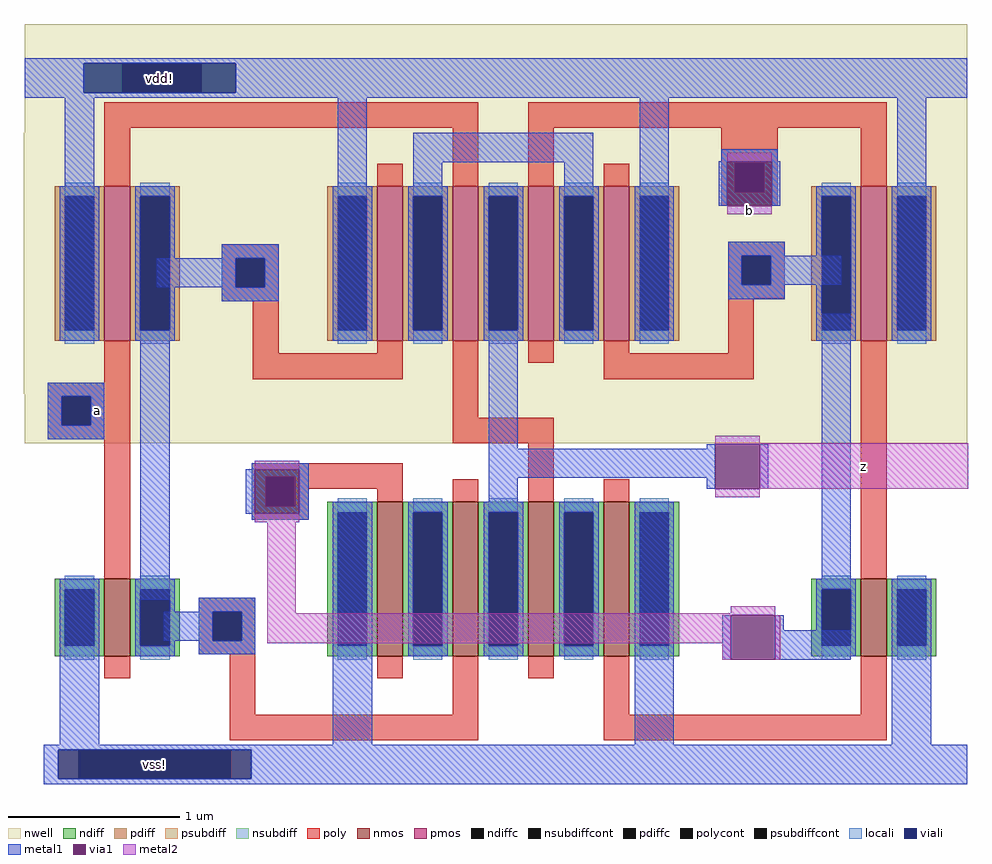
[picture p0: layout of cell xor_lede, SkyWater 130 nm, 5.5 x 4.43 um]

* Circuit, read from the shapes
.subckt xor_lede a b vdd! vss! z
XM1 n1 a vss! vss! sky130_fd_pr__nfet_01v8 w=0.45 l=0.15
XM2 n2 n3 vss! vss! sky130_fd_pr__nfet_01v8 w=0.9 l=0.15
XM3 z n1 n2 vss! sky130_fd_pr__nfet_01v8 w=0.9 l=0.15
XM4 n4 a z vss! sky130_fd_pr__nfet_01v8 w=0.9 l=0.15
XM5 vss! b n4 vss! sky130_fd_pr__nfet_01v8 w=0.9 l=0.15
XM6 vss! b n3 vss! sky130_fd_pr__nfet_01v8 w=0.45 l=0.15
XM7 n1 a vdd! vdd! sky130_fd_pr__pfet_01v8 w=0.9 l=0.15
XM8 n5 n1 vdd! vdd! sky130_fd_pr__pfet_01v8 w=0.9 l=0.15
XM9 z a n5 vdd! sky130_fd_pr__pfet_01v8 w=0.9 l=0.15
XM10 n5 b z vdd! sky130_fd_pr__pfet_01v8 w=0.9 l=0.15
XM11 vdd! n3 n5 vdd! sky130_fd_pr__pfet_01v8 w=0.9 l=0.15
XM12 vdd! b n3 vdd! sky130_fd_pr__pfet_01v8 w=0.9 l=0.15
.ends

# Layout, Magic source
magic
tech sky130A
magscale 1 2
<< nwell >>
rect -219 539 880 917
rect -219 486 -96 539
rect -95 534 880 539
rect -95 526 172 534
rect 192 526 222 534
rect 242 526 880 534
rect -95 486 880 526
rect -219 428 880 486
<< psubdiff >>
rect -180 37 -156 71
rect 21 37 45 71
<< nsubdiff >>
rect -150 837 -105 871
rect -13 837 27 871
<< psubdiffcont >>
rect -156 37 21 71
<< nsubdiffcont >>
rect -105 837 -13 871
<< poly >>
rect -126 796 310 826
rect -126 748 -96 796
rect 280 752 310 796
rect 368 796 786 826
rect 368 728 398 796
rect 593 755 659 796
rect 593 721 609 755
rect 643 721 659 755
rect 756 745 786 796
rect 593 705 659 721
rect 11 644 77 660
rect 11 610 27 644
rect 61 610 77 644
rect 11 594 77 610
rect -126 499 -96 539
rect 47 533 77 594
rect 601 647 667 663
rect 601 613 617 647
rect 651 613 667 647
rect 601 597 667 613
rect 601 533 631 597
rect 47 503 222 533
rect -192 483 -96 499
rect -192 449 -176 483
rect -142 449 -96 483
rect -192 433 -96 449
rect -126 296 -96 433
rect 280 458 310 530
rect 456 503 631 533
rect 280 428 398 458
rect 46 389 222 405
rect 46 355 62 389
rect 96 375 222 389
rect 368 386 398 428
rect 96 355 112 375
rect 46 339 112 355
rect 756 284 786 533
rect -16 232 50 248
rect -16 198 0 232
rect 34 198 50 232
rect -16 182 50 198
rect 20 112 50 182
rect 280 112 310 168
rect 20 82 310 112
rect 456 112 486 180
rect 756 112 786 162
rect 456 82 786 112
<< polycont >>
rect 609 721 643 755
rect 27 610 61 644
rect 617 613 651 647
rect -176 449 -142 483
rect 62 355 96 389
rect 0 198 34 232
<< locali >>
rect 593 755 659 771
rect 593 721 609 755
rect 643 721 659 755
rect 593 705 659 721
rect 11 644 77 660
rect 11 610 27 644
rect 61 610 77 644
rect 11 594 77 610
rect 601 647 667 663
rect 601 613 617 647
rect 651 613 667 647
rect 601 596 667 613
rect -192 483 -126 499
rect -192 449 -176 483
rect -142 449 -126 483
rect -192 433 -126 449
rect 46 389 112 405
rect 46 355 62 389
rect 96 355 112 389
rect 46 339 112 355
rect -16 232 50 248
rect -16 198 0 232
rect 34 198 50 232
rect -16 182 50 198
<< viali >>
rect -150 837 -105 871
rect -105 837 -13 871
rect -13 837 27 871
rect 609 721 643 755
rect 27 610 61 644
rect 617 613 651 647
rect -176 449 -142 483
rect 62 355 96 389
rect 0 198 34 232
rect -180 37 -156 71
rect -156 37 21 71
rect 21 37 45 71
<< metal1 >>
rect -219 871 880 877
rect -219 837 -150 871
rect 27 837 880 871
rect -219 831 880 837
rect -172 548 -138 831
rect 11 644 77 660
rect -65 610 27 644
rect 61 610 77 644
rect 11 594 77 610
rect -192 483 -126 499
rect -192 449 -176 483
rect -142 449 -126 483
rect -192 433 -126 449
rect -178 77 -132 270
rect -84 246 -50 557
rect 146 548 180 831
rect 234 756 444 790
rect 234 725 268 756
rect 410 727 444 756
rect 322 422 356 559
rect 498 548 532 831
rect 593 757 659 771
rect 590 705 600 757
rect 652 705 662 757
rect 601 647 667 663
rect 601 613 617 647
rect 651 613 733 647
rect 601 596 667 613
rect 576 422 586 427
rect 46 398 112 405
rect 39 346 49 398
rect 101 346 112 398
rect 322 388 586 422
rect 46 339 112 346
rect -16 232 50 248
rect -57 198 0 232
rect 34 198 50 232
rect -16 182 50 198
rect 140 77 186 360
rect 322 349 356 388
rect 576 375 586 388
rect 638 375 648 427
rect 492 77 538 360
rect 710 261 744 579
rect 798 548 832 831
rect 594 176 604 228
rect 656 210 666 228
rect 656 176 744 210
rect 792 77 838 270
rect -197 71 880 77
rect -197 37 -180 71
rect 45 37 880 71
rect -197 31 880 37
<< via1 >>
rect 600 755 652 757
rect 600 721 609 755
rect 609 721 643 755
rect 643 721 652 755
rect 600 705 652 721
rect 49 389 101 398
rect 49 355 62 389
rect 62 355 96 389
rect 96 355 101 389
rect 49 346 101 355
rect 586 375 638 427
rect 604 176 656 228
<< metal2 >>
rect 600 757 652 767
rect 600 695 652 705
rect 586 428 638 437
rect 586 427 881 428
rect 49 398 101 408
rect 638 375 881 427
rect 586 365 638 375
rect 49 336 101 346
rect 64 230 97 336
rect 604 230 656 238
rect 64 228 656 230
rect 64 195 604 228
rect 594 176 604 195
rect 656 176 662 228
use sky130_fd_pr__nfet_01v8_J836M4  sky130_fd_pr__nfet_01v8_J836M4_0
transform 1 0 -111 0 1 225
box -73 -71 73 71
use sky130_fd_pr__nfet_01v8_P8KVP3  sky130_fd_pr__nfet_01v8_P8KVP3_1
transform 1 0 207 0 1 270
box -73 -116 73 116
use sky130_fd_pr__nfet_01v8_P8KVP3  sky130_fd_pr__nfet_01v8_P8KVP3_2
transform 1 0 295 0 1 270
box -73 -116 73 116
use sky130_fd_pr__nfet_01v8_P8KVP3  sky130_fd_pr__nfet_01v8_P8KVP3_3
transform 1 0 383 0 1 270
box -73 -116 73 116
use sky130_fd_pr__nfet_01v8_P8KVP3  sky130_fd_pr__nfet_01v8_P8KVP3_4
transform 1 0 471 0 1 270
box -73 -116 73 116
use sky130_fd_pr__nfet_01v8_J836M4  sky130_fd_pr__nfet_01v8_J836M4_1
transform 1 0 771 0 1 225
box -73 -71 73 71
use sky130_fd_pr__pfet_01v8_5AYHFE  sky130_fd_pr__pfet_01v8_5AYHFE_0
transform 1 0 -111 0 1 638
box -109 -152 109 152
use sky130_fd_pr__pfet_01v8_5AYHFE  sky130_fd_pr__pfet_01v8_5AYHFE_1
transform 1 0 207 0 1 638
box -109 -152 109 152
use sky130_fd_pr__pfet_01v8_5AYHFE  sky130_fd_pr__pfet_01v8_5AYHFE_2
transform 1 0 295 0 1 638
box -109 -152 109 152
use sky130_fd_pr__pfet_01v8_5AYHFE  sky130_fd_pr__pfet_01v8_5AYHFE_5
transform 1 0 383 0 1 638
box -109 -152 109 152
use sky130_fd_pr__pfet_01v8_5AYHFE  sky130_fd_pr__pfet_01v8_5AYHFE_4
transform 1 0 471 0 1 638
box -109 -152 109 152
use sky130_fd_pr__pfet_01v8_5AYHFE  sky130_fd_pr__pfet_01v8_5AYHFE_3
transform 1 0 771 0 1 638
box -109 -152 109 152
<< labels >>
rlabel metal1 -142 433 -126 499 1 a
rlabel metal2 600 695 652 705 1 b
rlabel metal2 638 375 881 428 1 z
rlabel nwell -150 837 27 871 1 vdd!
rlabel metal1 -156 37 21 71 1 vss!
<< end >>

# cell sky130_fd_pr__nfet_01v8_J836M4: kit device sky130_fd_pr__nfet_01v8, w 0.45 l 0.150 m 1 nf 1 diffcov 100 polycov 100 guard 0 glc 0 grc 0 gtc 0 gbc 0 tbcov 100 rlcov 100 topc 0 botc 0 poverlap 0 doverlap 1 lmin 0.15 wmin 0.42 compatible {sky130_fd_pr__nfet_01v8 sky130_fd_pr__nfet_01v8_lvt sky130_fd_bs_flash__special_sonosfet_star sky130_fd_pr__nfet_g5v0d10v5 sky130_fd_pr__nfet_05v0_nvt} full_metal 0 viasrc 100 viadrn 100 viagate 100 viagb 0 viagr 0 viagl 0 viagt 0

# cell sky130_fd_pr__nfet_01v8_P8KVP3: kit device sky130_fd_pr__nfet_01v8, w 0.9 l 0.150 m 1 nf 1 diffcov 100 polycov 100 guard 0 glc 0 grc 0 gtc 0 gbc 0 tbcov 100 rlcov 100 topc 0 botc 0 poverlap 0 doverlap 1 lmin 0.15 wmin 0.42 compatible {sky130_fd_pr__nfet_01v8 sky130_fd_pr__nfet_01v8_lvt sky130_fd_bs_flash__special_sonosfet_star sky130_fd_pr__nfet_g5v0d10v5 sky130_fd_pr__nfet_05v0_nvt} full_metal 0 viasrc 100 viadrn 100 viagate 100 viagb 0 viagr 0 viagl 0 viagt 0

# cell sky130_fd_pr__pfet_01v8_5AYHFE: kit device sky130_fd_pr__pfet_01v8, w 0.9 l 0.15 m 1 nf 1 diffcov 100 polycov 100 guard 0 glc 0 grc 0 gtc 0 gbc 0 tbcov 100 rlcov 100 topc 0 botc 0 poverlap 0 doverlap 1 lmin 0.15 wmin 0.42 compatible {sky130_fd_pr__pfet_01v8 sky130_fd_pr__pfet_01v8_lvt sky130_fd_pr__pfet_01v8_hvt sky130_fd_pr__pfet_g5v0d10v5} full_metal 0 viasrc 100 viadrn 100 viagate 100 viagb 0 viagr 0 viagl 0 viagt 0
